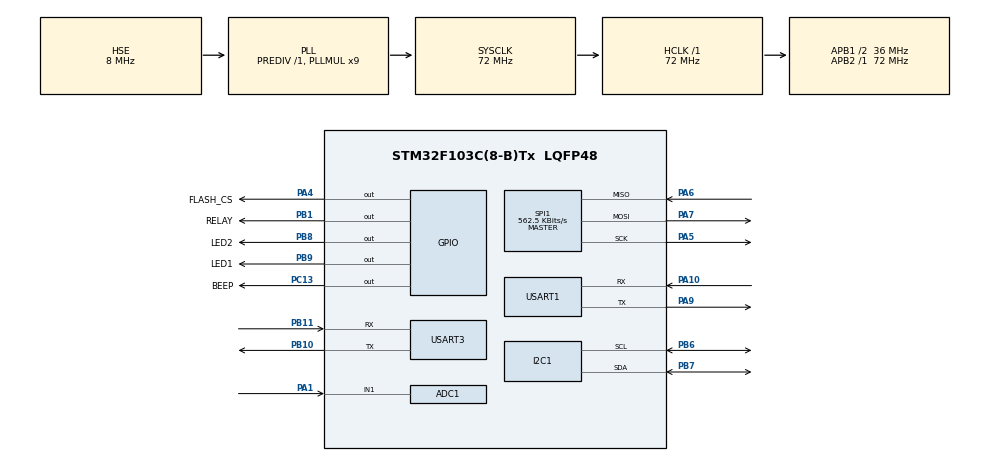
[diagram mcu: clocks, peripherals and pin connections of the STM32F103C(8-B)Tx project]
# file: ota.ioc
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ADC1.Channel-0\#ChannelRegularConversion=ADC_CHANNEL_1
ADC1.NbrOfConversionFlag=1
ADC1.Rank-0\#ChannelRegularConversion=1
ADC1.SamplingTime-0\#ChannelRegularConversion=ADC_SAMPLETIME_239CYCLES_5
ADC1.master=1
Dma.Request0=USART3_RX
Dma.USART3_RX.0.Direction=DMA_PERIPH_TO_MEMORY
Dma.USART3_RX.0.Instance=DMA1_Channel3
Dma.USART3_RX.0.MemDataAlignment=DMA_MDATAALIGN_BYTE
Dma.USART3_RX.0.MemInc=DMA_MINC_ENABLE
Dma.USART3_RX.0.Mode=DMA_CIRCULAR
Dma.USART3_RX.0.PeriphDataAlignment=DMA_PDATAALIGN_BYTE
Dma.USART3_RX.0.PeriphInc=DMA_PINC_DISABLE
Dma.USART3_RX.0.Priority=DMA_PRIORITY_HIGH
FREERTOS.Tasks01=defaultTask,0,128,StartDefaultTask,Default,NULL,Dynamic,NULL,NULL
FREERTOS.configTOTAL_HEAP_SIZE=8192
IWDG.Prescaler=IWDG_PRESCALER_256
IWDG.Reload=624
Mcu.Family=STM32F1
Mcu.Name=STM32F103C(8-B)Tx
Mcu.Package=LQFP48
NVIC.DMA1_Channel3_IRQn=true\:5\:0\:false\:false\:true\:true\:false\:true\:true
NVIC.PriorityGroup=NVIC_PRIORITYGROUP_4
NVIC.TIM1_UP_IRQn=true\:15\:0\:false\:false\:true\:false\:true\:true\:true
NVIC.TimeBase=TIM1_UP_IRQn
NVIC.TimeBaseIP=TIM1
NVIC.USART3_IRQn=true\:5\:0\:false\:false\:true\:true\:true\:true\:true
PA1.Signal=ADCx_IN1
PA10.Mode=Asynchronous
PA10.Signal=USART1_RX
PA13.Mode=Serial_Wire
PA13.Signal=SYS_JTMS-SWDIO
PA14.Mode=Serial_Wire
PA14.Signal=SYS_JTCK-SWCLK
PA4.GPIO_Label=FLASH_CS
PA4.GPIO_Speed=GPIO_SPEED_FREQ_HIGH
PA4.PinState=GPIO_PIN_SET
PA4.Signal=GPIO_Output
PA5.Mode=Full_Duplex_Master
PA5.Signal=SPI1_SCK
PA6.Mode=Full_Duplex_Master
PA6.Signal=SPI1_MISO
PA7.Mode=Full_Duplex_Master
PA7.Signal=SPI1_MOSI
PA9.Mode=Asynchronous
PA9.Signal=USART1_TX
PB1.GPIO_Label=RELAY
PB1.Signal=GPIO_Output
PB10.Mode=Asynchronous
PB10.Signal=USART3_TX
PB11.Mode=Asynchronous
PB11.Signal=USART3_RX
PB6.Mode=I2C
PB6.Signal=I2C1_SCL
PB7.Mode=I2C
PB7.Signal=I2C1_SDA
PB8.GPIO_Label=LED2
PB8.PinState=GPIO_PIN_SET
PB8.Signal=GPIO_Output
PB9.GPIO_Label=LED1
PB9.PinState=GPIO_PIN_SET
PB9.Signal=GPIO_Output
PC13-TAMPER-RTC.GPIO_Label=BEEP
PC13-TAMPER-RTC.Signal=GPIO_Output
PD0-OSC_IN.Mode=HSE-External-Oscillator
PD0-OSC_IN.Signal=RCC_OSC_IN
PD1-OSC_OUT.Mode=HSE-External-Oscillator
PD1-OSC_OUT.Signal=RCC_OSC_OUT
ProjectManager.HeapSize=0x400
ProjectManager.StackSize=0x800
ProjectManager.TargetToolchain=MDK-ARM V5.32
RCC.ADCPresc=RCC_ADCPCLK2_DIV6
RCC.AHBFreq_Value=72000000
RCC.APB1CLKDivider=RCC_HCLK_DIV2
RCC.APB1Freq_Value=36000000
RCC.APB1TimFreq_Value=72000000
RCC.APB2Freq_Value=72000000
RCC.APB2TimFreq_Value=72000000
RCC.HCLKFreq_Value=72000000
RCC.PLLMUL=RCC_PLL_MUL9
RCC.PLLSourceVirtual=RCC_PLLSOURCE_HSE
RCC.RTCClockSelection=RCC_RTCCLKSOURCE_HSE_DIV128
RCC.SYSCLKFreq_VALUE=72000000
RCC.SYSCLKSource=RCC_SYSCLKSOURCE_PLLCLK
RCC.USBFreq_Value=72000000
SH.ADCx_IN1.0=ADC1_IN1,IN1
SPI1.BaudRatePrescaler=SPI_BAUDRATEPRESCALER_128
SPI1.CalculateBaudRate=562.5 KBits/s
SPI1.Direction=SPI_DIRECTION_2LINES
SPI1.Mode=SPI_MODE_MASTER
SPI1.VirtualType=VM_MASTER
USART1.VirtualMode=VM_ASYNC
USART3.VirtualMode=VM_ASYNC
VP_FREERTOS_VS_CMSIS_V1.Mode=CMSIS_V1
VP_IWDG_VS_IWDG.Mode=IWDG_Activate
VP_SYS_VS_tim1.Mode=TIM1
board=custom

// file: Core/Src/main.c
/* USER CODE BEGIN Header */
/**
  ******************************************************************************
  * @file           : main.c
  * @brief          : Main program body
  ******************************************************************************
  * @attention
  *
  * Copyright (c) 2025 STMicroelectronics.
  * All rights reserved.
  *
  * This software is licensed under terms that can be found in the LICENSE file
  * in the root directory of this software component.
  * If no LICENSE file comes with this software, it is provided AS-IS.
  *
  ******************************************************************************
  */
/* USER CODE END Header */
#include "main.h"
#include "cmsis_os.h"
#include "adc.h"
#include "dma.h"
#include "i2c.h"
#include "iwdg.h"
#include "spi.h"
#include "usart.h"
#include "gpio.h"

/* USER CODE BEGIN Includes */
#include <stdio.h>
#include "oled.h"
#include "aht20.h"
#include "ina226.h"
#include "boot.h"
#include "w25q.h"
/* USER CODE END Includes */

/* USER CODE BEGIN PV */
sequeue_t gQueueUart3;
/* USER CODE END PV */

void SystemClock_Config(void);
void MX_FREERTOS_Init(void);

int main(void)
{

  /* USER CODE BEGIN 1 */
	// Bootloader 跳转前没有关 SysTick；本程序的 SysTick 中断归 FreeRTOS，调度器启动前进入会访问
	// 未初始化的任务链表而 HardFault。先关掉并清除挂起，调度器启动时 FreeRTOS 会重新配置 SysTick
	SysTick->CTRL = 0;
	SysTick->VAL = 0;
	SCB->ICSR = SCB_ICSR_PENDSTCLR_Msk;
	SCB->VTOR = FLASH_BASE | Application_1_Addr ; /* 更改中断向量表地址 偏移到APP1 地址 	*/
  /* USER CODE END 1 */

  /* MCU Configuration--------------------------------------------------------*/

  /* Reset of all peripherals, Initializes the Flash interface and the Systick. */
  HAL_Init();

  /* Configure the system clock */
  SystemClock_Config();

  /* Initialize all configured peripherals */
  MX_GPIO_Init();
  MX_DMA_Init();
  MX_USART1_UART_Init();
  MX_USART3_UART_Init();
  MX_I2C1_Init();
  MX_ADC1_Init();
  MX_SPI1_Init();
  MX_IWDG_Init();
  /* USER CODE BEGIN 2 */
	if (__HAL_RCC_GET_FLAG(RCC_FLAG_IWDGRST) != RESET) {
		printf("> reset by IWDG\r\n");
	}
	__HAL_RCC_CLEAR_RESET_FLAGS();
	printf("> OTA 1.1 connect mqtt...\n");
	OLED_Init();
	OLED_CLS(); // 清除屏幕显示
	OLED_ShowStr(0, 0, (unsigned char *)" OTA 1.1", OLED_FONT_8X16);
	OLED_ShowStr(0, 3, (unsigned char *)"MqttServer...", OLED_FONT_8X16);
	AHT20_Init();
	INA226_Init();
	printf("> W25Q32 %s\n", W25Q_Init() ? "OK" : "NOT FOUND");   // 初始化外部 Flash（OTA 暂存区）

	Queue_Init(&gQueueUart3);   // 先初始化队列，再开中断和DMA
	__HAL_UART_ENABLE_IT(&huart3, UART_IT_IDLE); //使能串UART3 IDLE(空闲)中断
	HAL_UART_Receive_DMA(&huart3, RX3_Buf, DMA_BUF_SIZE); //设置DMA传输，将uart3的数据搬运到RX3_Buf中
	// MQTT 连接、上报、OTA 都在 freertos.c 的通信任务里，传感器在传感器任务里
  /* USER CODE END 2 */

  /* Call init function for freertos objects (in cmsis_os2.c) */
  MX_FREERTOS_Init();

  /* Start scheduler */
  osKernelStart();

  /* We should never get here as control is now taken by the scheduler */

  /* Infinite loop */
  /* USER CODE BEGIN WHILE */
  while (1) {
		// 调度器启动后不会运行到这里
    /* USER CODE END WHILE */

  }
}

void SystemClock_Config(void)
{
  RCC_OscInitTypeDef RCC_OscInitStruct = {0};
  RCC_ClkInitTypeDef RCC_ClkInitStruct = {0};
  RCC_PeriphCLKInitTypeDef PeriphClkInit = {0};

  /** Initializes the RCC Oscillators according to the specified parameters
  * in the RCC_OscInitTypeDef structure.
  */
  RCC_OscInitStruct.OscillatorType = RCC_OSCILLATORTYPE_LSI|RCC_OSCILLATORTYPE_HSE;
  RCC_OscInitStruct.HSEState = RCC_HSE_ON;
  RCC_OscInitStruct.HSEPredivValue = RCC_HSE_PREDIV_DIV1;
  RCC_OscInitStruct.HSIState = RCC_HSI_ON;
  RCC_OscInitStruct.LSIState = RCC_LSI_ON;
  RCC_OscInitStruct.PLL.PLLState = RCC_PLL_ON;
  RCC_OscInitStruct.PLL.PLLSource = RCC_PLLSOURCE_HSE;
  RCC_OscInitStruct.PLL.PLLMUL = RCC_PLL_MUL9;
  if (HAL_RCC_OscConfig(&RCC_OscInitStruct) != HAL_OK)
  {
    Error_Handler();
  }

  /** Initializes the CPU, AHB and APB buses clocks
  */
  RCC_ClkInitStruct.ClockType = RCC_CLOCKTYPE_HCLK|RCC_CLOCKTYPE_SYSCLK
                              |RCC_CLOCKTYPE_PCLK1|RCC_CLOCKTYPE_PCLK2;
  RCC_ClkInitStruct.SYSCLKSource = RCC_SYSCLKSOURCE_PLLCLK;
  RCC_ClkInitStruct.AHBCLKDivider = RCC_SYSCLK_DIV1;
  RCC_ClkInitStruct.APB1CLKDivider = RCC_HCLK_DIV2;
  RCC_ClkInitStruct.APB2CLKDivider = RCC_HCLK_DIV1;

  if (HAL_RCC_ClockConfig(&RCC_ClkInitStruct, FLASH_LATENCY_2) != HAL_OK)
  {
    Error_Handler();
  }
  PeriphClkInit.PeriphClockSelection = RCC_PERIPHCLK_ADC;
  PeriphClkInit.AdcClockSelection = RCC_ADCPCLK2_DIV6;
  if (HAL_RCCEx_PeriphCLKConfig(&PeriphClkInit) != HAL_OK)
  {
    Error_Handler();
  }
}

void HAL_TIM_PeriodElapsedCallback(TIM_HandleTypeDef *htim)
{
  if (htim->Instance == TIM1)
  {
    HAL_IncTick();
  }
}

void Error_Handler(void)
{
  __disable_irq();
  while (1) {
  }
}

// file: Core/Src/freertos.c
/* USER CODE BEGIN Header */
/**
  ******************************************************************************
  * File Name          : freertos.c
  * Description        : Code for freertos applications
  ******************************************************************************
  * @attention
  *
  * Copyright (c) 2026 STMicroelectronics.
  * All rights reserved.
  *
  * This software is licensed under terms that can be found in the LICENSE file
  * in the root directory of this software component.
  * If no LICENSE file comes with this software, it is provided AS-IS.
  *
  ******************************************************************************
  */
/* USER CODE END Header */

#include "FreeRTOS.h"
#include "task.h"
#include "main.h"
#include "cmsis_os.h"

/* USER CODE BEGIN Includes */
#include "wifi4g.h"
#include "mqtt.h"
#include "modbus.h"
#include "oled.h"
#include "i2c.h"
#include "iwdg.h"
#include <stdio.h>
/* USER CODE END Includes */

/* USER CODE BEGIN PD */
// 任务栈大小的单位是「字」（4 字节）
#define COMM_TASK_STACK      512                      // 通信任务：AT 命令、MQTT、cJSON，局部缓冲区较大
#define COMM_TASK_PRIO       (tskIDLE_PRIORITY + 1)
#define SENSOR_TASK_STACK    256                      // 传感器任务：I2C、ADC、浮点换算
#define SENSOR_TASK_PRIO     (tskIDLE_PRIORITY + 2)   // 最高：擦写忙等时传感器仍要更新
#define OTA_TASK_STACK       512                      // OTA 任务：下载状态机、CRC、W25Q
#define OTA_TASK_PRIO        (tskIDLE_PRIORITY + 0)   // 低于 Comm：擦写等待已让出，Comm 更高作双保险

#define COMM_POLL_MS         10       // 没有新数据时，最多等这么久也要解析一次
#define UPLOAD_PERIOD_MS     5000     // 传感器数据上报周期（ms）
#define SENSOR_PERIOD_MS     500      // 传感器刷新周期（ms）
#define SENSOR_POLL_MS       20       // 传感器任务轮询周期（ms）：读取温湿度结果、刷新 LED/蜂鸣器/继电器
#define OTA_START_DELAY_MS   1000     // 收到 OTA 信息后，等这么久再开始下载（ms）
#define MQTT_RECONNECT_MS    60000    // MQTT 断开后的重连间隔（ms）
#define MQTT_ERR_LIMIT       3        // 已连接状态下连续收到 ERROR 的次数达到该值，判定为掉线
/* USER CODE END PD */

/* USER CODE BEGIN Variables */
// 业务任务从 FreeRTOS 堆动态创建（见 configTOTAL_HEAP_SIZE）
static TaskHandle_t commTaskHandle = NULL;
static TaskHandle_t sensorTaskHandle = NULL;
static TaskHandle_t otaTaskHandle = NULL;
/* USER CODE END Variables */
osThreadId defaultTaskHandle;

/* USER CODE BEGIN FunctionPrototypes */
static void CommTask(void *argument);
static void SensorTask(void *argument);
static void OtaTask(void *argument);
/* USER CODE END FunctionPrototypes */

void StartDefaultTask(void const * argument);

void MX_FREERTOS_Init(void); /* (MISRA C 2004 rule 8.1) */

/* GetIdleTaskMemory prototype (linked to static allocation support) */
void vApplicationGetIdleTaskMemory( StaticTask_t **ppxIdleTaskTCBBuffer, StackType_t **ppxIdleTaskStackBuffer, uint32_t *pulIdleTaskStackSize );

/* USER CODE BEGIN GET_IDLE_TASK_MEMORY */
static StaticTask_t xIdleTaskTCBBuffer;
static StackType_t xIdleStack[configMINIMAL_STACK_SIZE];

void vApplicationGetIdleTaskMemory( StaticTask_t **ppxIdleTaskTCBBuffer, StackType_t **ppxIdleTaskStackBuffer, uint32_t *pulIdleTaskStackSize )
{
  *ppxIdleTaskTCBBuffer = &xIdleTaskTCBBuffer;
  *ppxIdleTaskStackBuffer = &xIdleStack[0];
  *pulIdleTaskStackSize = configMINIMAL_STACK_SIZE;
  /* place for user code */
}
/* USER CODE END GET_IDLE_TASK_MEMORY */

void MX_FREERTOS_Init(void) {

  /* USER CODE BEGIN RTOS_MUTEX */
	I2C1_LockInit();   // OLED、AHT20、INA226 共用 I2C1
  /* USER CODE END RTOS_MUTEX */

  /* Create the thread(s) */
  /* definition and creation of defaultTask */
  osThreadDef(defaultTask, StartDefaultTask, osPriorityNormal, 0, 128);
  defaultTaskHandle = osThreadCreate(osThread(defaultTask), NULL);

  /* USER CODE BEGIN RTOS_THREADS */
	if (xTaskCreate(CommTask, "comm", COMM_TASK_STACK, NULL,
			COMM_TASK_PRIO, &commTaskHandle) != pdPASS) {
		printf("[ERR] create CommTask fail\r\n");
		Error_Handler();
	}
	wifiBindTask(commTaskHandle);   // 串口中断收到数据后通知这个任务
	if (xTaskCreate(SensorTask, "sensor", SENSOR_TASK_STACK, NULL,
			SENSOR_TASK_PRIO, &sensorTaskHandle) != pdPASS) {
		printf("[ERR] create SensorTask fail\r\n");
		Error_Handler();
	}
	if (xTaskCreate(OtaTask, "ota", OTA_TASK_STACK, NULL,
			OTA_TASK_PRIO, &otaTaskHandle) != pdPASS) {
		printf("[ERR] create OtaTask fail\r\n");
		Error_Handler();
	}
	printf("> tasks created\r\n");
  /* USER CODE END RTOS_THREADS */

}

void StartDefaultTask(void const * argument)
{
  /* USER CODE BEGIN StartDefaultTask */
	// 业务都在 CommTask / SensorTask / OtaTask 里，CubeMX 生成的这个任务直接删除自己
	vTaskDelete(NULL);
  /* USER CODE END StartDefaultTask */
}

/* USER CODE BEGIN Application */
// 通信任务：独占串口接收解析（wifiPoll），负责连接、遥测、RPC；OTA 下载交给 OtaTask
static void CommTask(void *argument) {
	TickType_t now = 0;
	TickType_t uploadTick = 0;
	TickType_t retryTick = 0;
	TickType_t otaWaitTick = 0;
	uint8_t otaWaiting = 0;   // OTA 已请求，正在等待 OTA_START_DELAY_MS 后通知 OtaTask

	(void)argument;
	printf("> comm task start\r\n");
	mqttConnect();            // 最长阻塞 180 秒（只阻塞本任务）
	printf("> MQTT %s\r\n", gWifi4G.connected ? "connected" : "not connected");
	retryTick = xTaskGetTickCount();
	uploadTick = retryTick;

	for (;;) {
		wifiWaitRx(COMM_POLL_MS);
		wifiPoll();
		now = xTaskGetTickCount();

		if ((now - uploadTick) >= pdMS_TO_TICKS(UPLOAD_PERIOD_MS)) {
			uploadTick = now;
			if (gWifi4G.connected && !gOtaBusy) {
				mqttSendData((uint8_t *)PUB1, MQTT_MSG_TELEMETRY, 0);
			}
		}
		if (gWifi4G.connected && gWifi4G.errCount >= MQTT_ERR_LIMIT) {
			gWifi4G.connected = 0;
			gWifi4G.errCount = 0;
			retryTick = now;
			printf("> MQTT offline (ERROR x%d)\r\n", MQTT_ERR_LIMIT);
			OLED_ShowStr(0, 3, (unsigned char *)"MQTTServer... --", OLED_FONT_8X16);
		}
		if (!gOtaBusy && !gWifi4G.connected &&
			(now - retryTick) >= pdMS_TO_TICKS(MQTT_RECONNECT_MS)) {
			retryTick = now;
			printf("> MQTT reconnect...\r\n");
			mqttConnect();
			printf("> MQTT %s\r\n", gWifi4G.connected ? "connected" : "not connected");
		}
		if (gOtaFlag && !otaWaiting && !gOtaBusy) {
			gOtaFlag = 0;
			otaWaiting = 1;
			otaWaitTick = now;
			printf("> OTA request, start in %d ms\r\n", OTA_START_DELAY_MS);
		}
		if (otaWaiting && (now - otaWaitTick) >= pdMS_TO_TICKS(OTA_START_DELAY_MS)) {
			otaWaiting = 0;
			printf("> OTA notify OtaTask\r\n");
			if (otaTaskHandle != NULL) {
				xTaskNotifyGive(otaTaskHandle);
			}
		}
	}
}

// 传感器任务：读 AHT20、INA226、ADC，按 REG_HOLD_BUF[0] 刷新 LED/蜂鸣器/继电器
// 同时负责 IWDG：本任务优先级最高，约每 20 ms 喂狗（超时约 4 s）
static void SensorTask(void *argument) {
	TickType_t refreshTick = 0;

	(void)argument;
	printf("> sensor task start\r\n");
	/* 先让出一拍：本任务优先级最高，若立刻开 IWDG/跑业务，Comm 的启动日志会被拖住 */
	vTaskDelay(pdMS_TO_TICKS(1));
	IWDG_AppStart();
	printf("> IWDG start (prescaler/256 reload=624, ~4s)\r\n");
	refreshTick = xTaskGetTickCount();
	for (;;) {
		IWDG_AppRefresh();
		if ((xTaskGetTickCount() - refreshTick) >= pdMS_TO_TICKS(SENSOR_PERIOD_MS)) {
			refreshTick = xTaskGetTickCount();
			Modbus_Refresh();
		}
		Modbus_Parse();
		vTaskDelay(pdMS_TO_TICKS(SENSOR_POLL_MS));
	}
}

// OTA 任务：下载状态机、写 W25Q、刷进度；收包仍由 CommTask 解析后写入 chunk_buf
static void OtaTask(void *argument) {
	(void)argument;
	printf("> ota task start\r\n");
	for (;;) {
		ulTaskNotifyTake(pdTRUE, portMAX_DELAY);
		printf("> OtaTask run download\r\n");
		MQTT_OTA_GetFW();   // 成功会重启；失败按重试次数重新置位 gOtaFlag
	}
}
/* USER CODE END Application */
